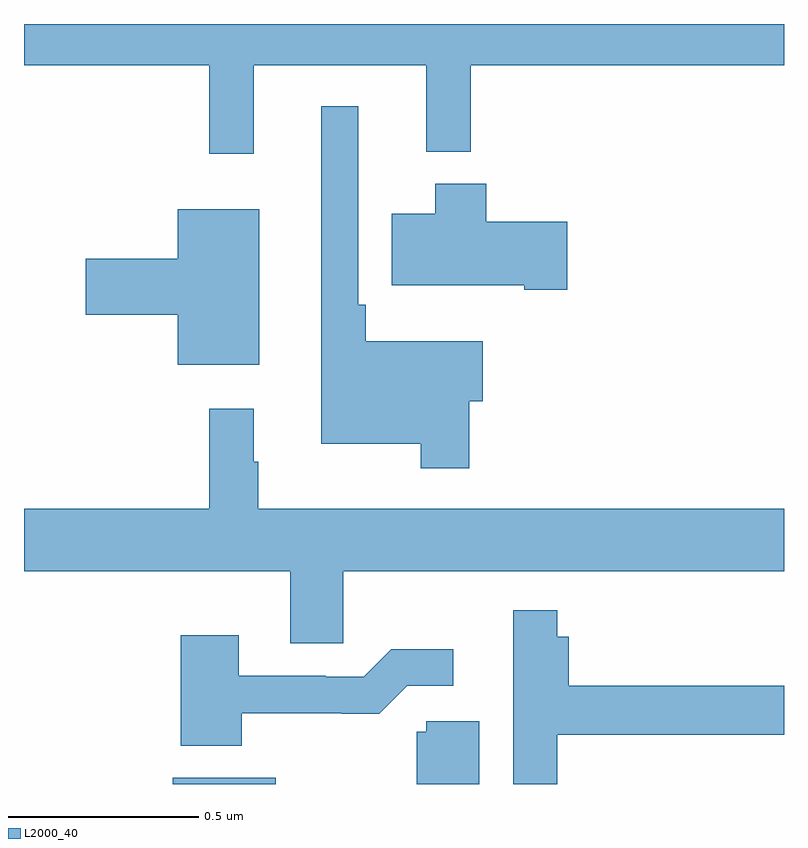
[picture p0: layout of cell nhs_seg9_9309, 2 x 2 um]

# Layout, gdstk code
import gdstk
lib = gdstk.Library(unit=1e-6, precision=1e-09)
def R(c, l, rs):  # rectangles x0, y0, x1, y1
    for r in rs: c.add(gdstk.rectangle(r[:2], r[2:], *l))
def P(c, l, *ps):  # polygons
    for p in ps: c.add(gdstk.Polygon(p, *l))
L2000_40 = (2000, 40)

nhs_seg9_9309 = lib.new_cell('nhs_seg9_9309')
R(nhs_seg9_9309, L2000_40, [(228.392,1222.5,228.662,1222.516)])
P(nhs_seg9_9309, L2000_40, [(228.605,1224.392),(229.058,1224.392),(229.058,1224.164),(229.175,1224.164),(229.175,1224.392),(230,1224.392),(230,1224.5),(228,1224.5),(228,1224.392),(228.487,1224.392),(228.487,1224.159),(228.605,1224.159)],
  [(229.172,1223.507),(229.207,1223.507),(229.207,1223.665),(228.899,1223.665),(228.899,1223.761),(228.879,1223.761),(228.879,1224.283),(228.782,1224.283),(228.782,1223.396),(229.044,1223.396),(229.044,1223.331),(229.172,1223.331)],
  [(229.429,1223.979),(229.217,1223.979),(229.217,1224.079),(229.082,1224.079),(229.082,1224.001),(228.968,1224.001),(228.968,1223.813),(229.316,1223.813),(229.316,1223.801),(229.429,1223.801)],
  [(228.619,1224.013),(228.404,1224.013),(228.404,1223.882),(228.162,1223.882),(228.162,1223.735),(228.404,1223.735),(228.404,1223.603),(228.619,1223.603)],
  [(228.84,1223.06),(230,1223.06),(230,1223.224),(228.616,1223.224),(228.616,1223.348),(228.604,1223.348),(228.604,1223.488),(228.487,1223.488),(228.487,1223.224),(228,1223.224),(228,1223.06),(228.701,1223.06),(228.701,1222.87),(228.84,1222.87)],
  [(229.403,1222.63),(230,1222.63),(230,1222.759),(229.433,1222.759),(229.433,1222.888),(229.403,1222.888),(229.403,1222.957),(229.287,1222.957),(229.287,1222.5),(229.403,1222.5)],
  [(228.573,1222.686),(228.836,1222.686),(228.836,1222.685),(228.935,1222.685),(229.008,1222.758),(229.129,1222.758),(229.129,1222.855),(228.967,1222.855),(228.894,1222.782),(228.794,1222.782),(228.794,1222.785),(228.565,1222.785),(228.565,1222.891),(228.413,1222.891),(228.413,1222.601),(228.573,1222.601)],
  [(229.198,1222.665),(229.059,1222.665),(229.059,1222.638),(229.034,1222.638),(229.034,1222.5),(229.198,1222.5)])

lib.write_gds('nhs_seg9_9309.gds')
